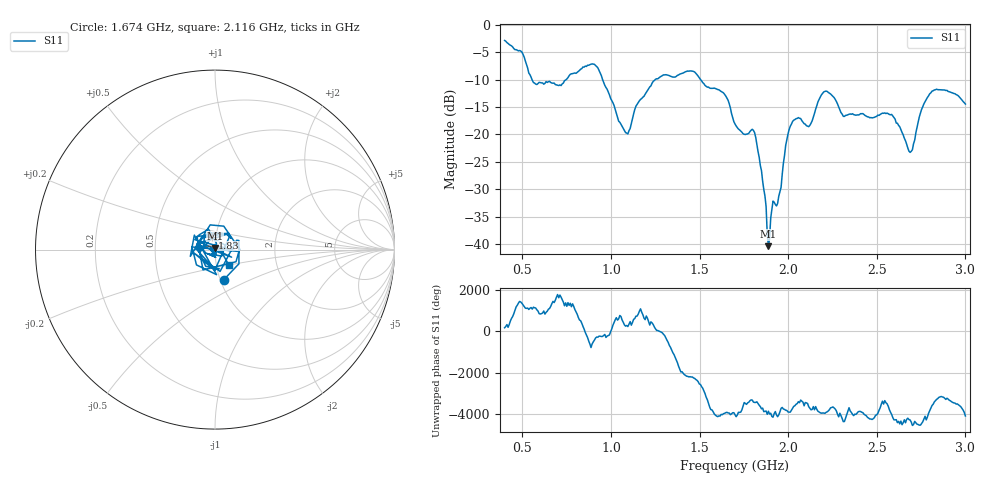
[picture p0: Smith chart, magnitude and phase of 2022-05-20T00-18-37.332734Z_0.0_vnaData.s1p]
!Created with skrf (http://scikit-rf.org).
# Hz S RI R 50.0
!freq ReS11 ImS11
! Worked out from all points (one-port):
!   401 points, 400 MHz to 3 GHz, reference 50 ohm
!   lowest |S11| = -40.4 dB at 1.889 GHz (marker M1), VSWR 1.02, Z = 50 + j0.956 ohm
!   |S11| at or under -10 dB: 554.9 MHz to 746.9 MHz (192 MHz wide, 29.5 % of centre); 953 MHz to 1.249 GHz (296.3 MHz wide, 26.9 % of centre); 1.506 GHz to end of sweep
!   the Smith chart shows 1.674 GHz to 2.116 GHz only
!   S11 on the Smith chart (normalised r, x): 1.674 GHz: 1.04, -0.36; 1.83 GHz: 0.96, +0.13; 2.116 GHz: 1.15, -0.21
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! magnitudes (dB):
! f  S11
! 400 MHz  -2.8
! 497.5 MHz  -5.0
! 569 MHz  -10.6
! 725 MHz  -10.8
! 907 MHz  -7.2
! 1.05 GHz  -17.8
! 1.095 GHz  -19.9
! 1.147 GHz  -14.5
! 1.245 GHz  -10.1
! 1.375 GHz  -9.2
! 1.466 GHz  -8.5
! 1.674 GHz  -15.2
! 1.7 GHz  -18.1
! 1.804 GHz  -19.3
! 1.83 GHz  -23.1
! 1.889 GHz  -40.4
! 1.947 GHz  -31.3
! 1.992 GHz  -20.9
! 2.025 GHz  -17.6
! 2.116 GHz  -18.6
! 2.207 GHz  -12.1
! 2.35 GHz  -16.3
! 2.578 GHz  -16.4
! 2.675 GHz  -22.5
! 2.701 GHz  -22.8
! 2.753 GHz  -15.4
! 2.812 GHz  -12.1
! 3 GHz  -14.4
